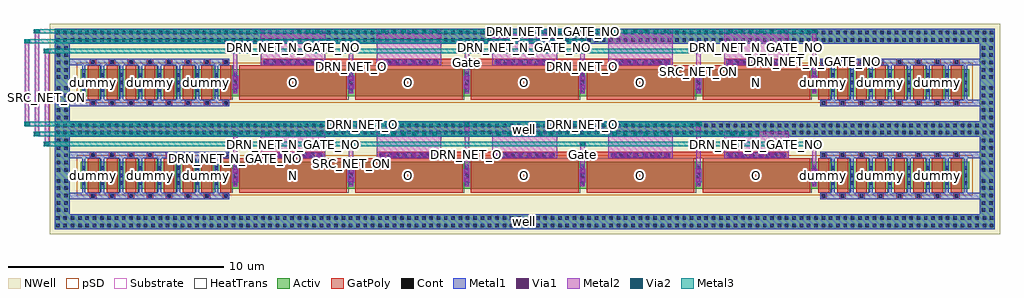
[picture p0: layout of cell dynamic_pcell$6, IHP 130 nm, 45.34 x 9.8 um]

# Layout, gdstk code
import gdstk
lib = gdstk.Library(unit=1e-6, precision=1e-09)
def R(c, l, rs):  # rectangles x0, y0, x1, y1
    for r in rs: c.add(gdstk.rectangle(r[:2], r[2:], *l))
def A(c, l, x, y, w, h, nx, ny, dx, dy):  # array of equal rectangles
    R(c, l, [(x+i*dx, y+j*dy, x+i*dx+w, y+j*dy+h) for i in range(nx) for j in range(ny)])
def P(c, l, *ps):  # polygons
    for p in ps: c.add(gdstk.Polygon(p, *l))
Activ = (1, 0)
GatPoly = (5, 0)
Cont = (6, 0)
Metal1 = (8, 0)
Metal2 = (10, 0)
pSD = (14, 0)
Via1 = (19, 0)
Via2 = (29, 0)
Metal3 = (30, 0)
NWell = (31, 0)
Substrate = (40, 0)
HeatTrans = (51, 0)

dynamic_pcell_6 = lib.new_cell('dynamic_pcell$6')
A(dynamic_pcell_6, Activ, 0, 0, 0.3, 0.3, 9, 2, 0.88, 4.31)
A(dynamic_pcell_6, Activ, 12.42, 0, 0.3, 0.3, 5, 1, 5.38, 0)
A(dynamic_pcell_6, Activ, 33.94, 0, 0.3, 0.3, 9, 2, 0.88, 4.31)
A(dynamic_pcell_6, Activ, 7.04, 4.31, 0.3, 0.3, 5, 1, 5.38, 0)
R(dynamic_pcell_6, Activ, [(-1.2,-1.88,42.48,-1.18), (-1.2,-1.18,-0.5,2.43), (41.78,-1.18,42.48,2.43), (0,0,7.34,1.25), (7.04,0,7.34,0.3), (7.04,0,12.72,1.25), (12.42,0,12.72,0.3), (12.42,0,34.24,1.25), (33.94,0,41.28,1.25), (-1.2,2.43,42.48,3.13), (-1.2,3.13,-0.5,6.74), (41.78,3.13,42.48,6.74), (0,4.31,7.34,5.56), (7.04,4.31,28.86,5.56), (28.56,4.31,28.86,4.61), (28.56,4.31,34.24,5.56), (33.94,4.31,34.24,4.61), (33.94,4.31,41.28,5.56)])
P(dynamic_pcell_6, Activ, [(-1.2,-1.88),(-1.2,2.43),(-0.5,2.43),(-0.5,-1.18),(41.78,-1.18),(41.78,2.43),(-1.2,2.43),(-1.2,3.13),(42.48,3.13),(42.48,-1.88)],
  [(-1.2,2.43),(-1.2,6.74),(-0.5,6.74),(-0.5,3.13),(41.78,3.13),(41.78,6.74),(-1.2,6.74),(-1.2,7.44),(42.48,7.44),(42.48,2.43)])
A(dynamic_pcell_6, GatPoly, 0.44, -0.48, 0.3, 0.3, 8, 2, 0.88, 1.91)
A(dynamic_pcell_6, GatPoly, 34.38, -0.48, 0.3, 0.3, 8, 2, 0.88, 1.91)
A(dynamic_pcell_6, GatPoly, 0.34, -0.18, 0.5, 1.61, 8, 2, 0.88, 4.31)
A(dynamic_pcell_6, GatPoly, 7.38, -0.18, 5, 1.61, 5, 2, 5.38, 4.31)
A(dynamic_pcell_6, GatPoly, 34.28, -0.18, 0.5, 1.61, 8, 2, 0.88, 4.31)
A(dynamic_pcell_6, GatPoly, 8.38, 1.43, 3, 0.3, 5, 2, 5.38, 4.31)
A(dynamic_pcell_6, GatPoly, 0.44, 3.83, 0.3, 0.3, 8, 2, 0.88, 1.91)
A(dynamic_pcell_6, GatPoly, 34.38, 3.83, 0.3, 0.3, 8, 2, 0.88, 1.91)
R(dynamic_pcell_6, GatPoly, [(13.76,1.43,32.9,1.73), (8.38,5.74,27.52,6.04)])
A(dynamic_pcell_6, Cont, -1.13, -1.78, 0.16, 0.16, 64, 2, 0.34, 0.34)
A(dynamic_pcell_6, Cont, 20.83, -1.78, 0.16, 0.16, 64, 2, 0.34, 0.34)
A(dynamic_pcell_6, Cont, -1.1, -1.07, 0.16, 0.16, 1, 5, 0, 0.34)
A(dynamic_pcell_6, Cont, -0.76, -1.07, 0.16, 0.16, 1, 5, 0, 0.34)
A(dynamic_pcell_6, Cont, 41.88, -1.07, 0.16, 0.16, 1, 5, 0, 0.34)
A(dynamic_pcell_6, Cont, 42.22, -1.07, 0.16, 0.16, 1, 5, 0, 0.34)
A(dynamic_pcell_6, Cont, 0.51, -0.41, 0.16, 0.16, 8, 2, 0.88, 1.91)
A(dynamic_pcell_6, Cont, 34.45, -0.41, 0.16, 0.16, 8, 2, 0.88, 1.91)
A(dynamic_pcell_6, Cont, 0.07, 0.195, 0.16, 0.16, 9, 3, 0.88, 0.35)
A(dynamic_pcell_6, Cont, 7.11, 0.195, 0.16, 0.16, 1, 3, 0, 0.35)
A(dynamic_pcell_6, Cont, 12.49, 0.195, 0.16, 0.16, 1, 3, 0, 0.35)
A(dynamic_pcell_6, Cont, 12.49, 0.195, 0.16, 0.16, 5, 3, 5.38, 0.35)
A(dynamic_pcell_6, Cont, 34.01, 0.195, 0.16, 0.16, 9, 3, 0.88, 0.35)
A(dynamic_pcell_6, Cont, -1.1, 0.8, 0.16, 0.16, 1, 5, 0, 0.34)
A(dynamic_pcell_6, Cont, -0.76, 0.8, 0.16, 0.16, 1, 5, 0, 0.34)
A(dynamic_pcell_6, Cont, 41.88, 0.8, 0.16, 0.16, 1, 5, 0, 0.34)
A(dynamic_pcell_6, Cont, 42.22, 0.8, 0.16, 0.16, 1, 5, 0, 0.34)
A(dynamic_pcell_6, Cont, 8.54, 1.5, 0.16, 0.16, 8, 2, 0.36, 4.31)
A(dynamic_pcell_6, Cont, 13.92, 1.5, 0.16, 0.16, 8, 2, 0.36, 4.31)
A(dynamic_pcell_6, Cont, 19.3, 1.5, 0.16, 0.16, 8, 2, 0.36, 4.31)
A(dynamic_pcell_6, Cont, 24.68, 1.5, 0.16, 0.16, 8, 2, 0.36, 4.31)
A(dynamic_pcell_6, Cont, 30.06, 1.5, 0.16, 0.16, 8, 2, 0.36, 4.31)
A(dynamic_pcell_6, Cont, -1.1, 3.24, 0.16, 0.16, 1, 5, 0, 0.34)
A(dynamic_pcell_6, Cont, -0.76, 3.24, 0.16, 0.16, 1, 5, 0, 0.34)
A(dynamic_pcell_6, Cont, 41.88, 3.24, 0.16, 0.16, 1, 5, 0, 0.34)
A(dynamic_pcell_6, Cont, 42.22, 3.24, 0.16, 0.16, 1, 5, 0, 0.34)
A(dynamic_pcell_6, Cont, 0.51, 3.9, 0.16, 0.16, 8, 2, 0.88, 1.91)
A(dynamic_pcell_6, Cont, 34.45, 3.9, 0.16, 0.16, 8, 2, 0.88, 1.91)
A(dynamic_pcell_6, Cont, 0.07, 4.505, 0.16, 0.16, 9, 3, 0.88, 0.35)
A(dynamic_pcell_6, Cont, 7.11, 4.505, 0.16, 0.16, 5, 3, 5.38, 0.35)
A(dynamic_pcell_6, Cont, 28.63, 4.505, 0.16, 0.16, 1, 3, 0, 0.35)
A(dynamic_pcell_6, Cont, 34.01, 4.505, 0.16, 0.16, 1, 3, 0, 0.35)
A(dynamic_pcell_6, Cont, 34.01, 4.505, 0.16, 0.16, 9, 3, 0.88, 0.35)
A(dynamic_pcell_6, Cont, -1.1, 5.11, 0.16, 0.16, 1, 5, 0, 0.34)
A(dynamic_pcell_6, Cont, -0.76, 5.11, 0.16, 0.16, 1, 5, 0, 0.34)
A(dynamic_pcell_6, Cont, 41.88, 5.11, 0.16, 0.16, 1, 5, 0, 0.34)
A(dynamic_pcell_6, Cont, 42.22, 5.11, 0.16, 0.16, 1, 5, 0, 0.34)
A(dynamic_pcell_6, Cont, -1.13, 6.84, 0.16, 0.16, 64, 2, 0.34, 0.34)
A(dynamic_pcell_6, Cont, 20.83, 6.84, 0.16, 0.16, 64, 2, 0.34, 0.34)
R(dynamic_pcell_6, Cont, [(-1.13,2.53,-0.97,2.69), (-1.13,2.53,-0.97,2.69), (-0.79,2.53,-0.63,2.69), (-0.79,2.53,-0.63,2.69), (-0.45,2.53,-0.29,2.69), (-0.45,2.53,-0.29,2.69), (-0.11,2.53,0.05,2.69), (-0.11,2.53,0.05,2.69), (0.23,2.53,0.39,2.69), (0.23,2.53,0.39,2.69), (0.57,2.53,0.73,2.69), (0.57,2.53,0.73,2.69), (0.91,2.53,1.07,2.69), (0.91,2.53,1.07,2.69), (1.25,2.53,1.41,2.69), (1.25,2.53,1.41,2.69), (1.59,2.53,1.75,2.69), (1.59,2.53,1.75,2.69), (1.93,2.53,2.09,2.69), (1.93,2.53,2.09,2.69), (2.27,2.53,2.43,2.69), (2.27,2.53,2.43,2.69), (2.61,2.53,2.77,2.69), (2.61,2.53,2.77,2.69), (2.95,2.53,3.11,2.69), (2.95,2.53,3.11,2.69), (3.29,2.53,3.45,2.69), (3.29,2.53,3.45,2.69), (3.63,2.53,3.79,2.69), (3.63,2.53,3.79,2.69), (3.97,2.53,4.13,2.69), (3.97,2.53,4.13,2.69), (4.31,2.53,4.47,2.69), (4.31,2.53,4.47,2.69), (4.65,2.53,4.81,2.69), (4.65,2.53,4.81,2.69), (4.99,2.53,5.15,2.69), (4.99,2.53,5.15,2.69), (5.33,2.53,5.49,2.69), (5.33,2.53,5.49,2.69), (5.67,2.53,5.83,2.69), (5.67,2.53,5.83,2.69), (6.01,2.53,6.17,2.69), (6.01,2.53,6.17,2.69), (6.35,2.53,6.51,2.69), (6.35,2.53,6.51,2.69), (6.69,2.53,6.85,2.69), (6.69,2.53,6.85,2.69), (7.03,2.53,7.19,2.69), (7.03,2.53,7.19,2.69), (7.37,2.53,7.53,2.69), (7.37,2.53,7.53,2.69), (7.71,2.53,7.87,2.69), (7.71,2.53,7.87,2.69), (8.05,2.53,8.21,2.69), (8.05,2.53,8.21,2.69), (8.39,2.53,8.55,2.69), (8.39,2.53,8.55,2.69), (8.73,2.53,8.89,2.69), (8.73,2.53,8.89,2.69), (9.07,2.53,9.23,2.69), (9.07,2.53,9.23,2.69), (9.41,2.53,9.57,2.69), (9.41,2.53,9.57,2.69), (9.75,2.53,9.91,2.69), (9.75,2.53,9.91,2.69), (10.09,2.53,10.25,2.69), (10.09,2.53,10.25,2.69), (10.43,2.53,10.59,2.69), (10.43,2.53,10.59,2.69), (10.77,2.53,10.93,2.69), (10.77,2.53,10.93,2.69), (11.11,2.53,11.27,2.69), (11.11,2.53,11.27,2.69), (11.45,2.53,11.61,2.69), (11.45,2.53,11.61,2.69), (11.79,2.53,11.95,2.69), (11.79,2.53,11.95,2.69), (12.13,2.53,12.29,2.69), (12.13,2.53,12.29,2.69), (12.47,2.53,12.63,2.69), (12.47,2.53,12.63,2.69), (12.81,2.53,12.97,2.69), (12.81,2.53,12.97,2.69), (13.15,2.53,13.31,2.69), (13.15,2.53,13.31,2.69), (13.49,2.53,13.65,2.69), (13.49,2.53,13.65,2.69), (13.83,2.53,13.99,2.69), (13.83,2.53,13.99,2.69), (14.17,2.53,14.33,2.69), (14.17,2.53,14.33,2.69), (14.51,2.53,14.67,2.69), (14.51,2.53,14.67,2.69), (14.85,2.53,15.01,2.69), (14.85,2.53,15.01,2.69), (15.19,2.53,15.35,2.69), (15.19,2.53,15.35,2.69), (15.53,2.53,15.69,2.69), (15.53,2.53,15.69,2.69), (15.87,2.53,16.03,2.69), (15.87,2.53,16.03,2.69), (16.21,2.53,16.37,2.69), (16.21,2.53,16.37,2.69), (16.55,2.53,16.71,2.69), (16.55,2.53,16.71,2.69), (16.89,2.53,17.05,2.69), (16.89,2.53,17.05,2.69), (17.23,2.53,17.39,2.69), (17.23,2.53,17.39,2.69), (17.57,2.53,17.73,2.69), (17.57,2.53,17.73,2.69), (17.91,2.53,18.07,2.69), (17.91,2.53,18.07,2.69), (18.25,2.53,18.41,2.69), (18.25,2.53,18.41,2.69), (18.59,2.53,18.75,2.69), (18.59,2.53,18.75,2.69), (18.93,2.53,19.09,2.69), (18.93,2.53,19.09,2.69), (19.27,2.53,19.43,2.69), (19.27,2.53,19.43,2.69), (19.61,2.53,19.77,2.69), (19.61,2.53,19.77,2.69), (19.95,2.53,20.11,2.69), (19.95,2.53,20.11,2.69), (20.29,2.53,20.45,2.69), (20.29,2.53,20.45,2.69), (20.83,2.53,20.99,2.69), (20.83,2.53,20.99,2.69), (21.17,2.53,21.33,2.69), (21.17,2.53,21.33,2.69), (21.51,2.53,21.67,2.69), (21.51,2.53,21.67,2.69), (21.85,2.53,22.01,2.69), (21.85,2.53,22.01,2.69), (22.19,2.53,22.35,2.69), (22.19,2.53,22.35,2.69), (22.53,2.53,22.69,2.69), (22.53,2.53,22.69,2.69), (22.87,2.53,23.03,2.69), (22.87,2.53,23.03,2.69), (23.21,2.53,23.37,2.69), (23.21,2.53,23.37,2.69), (23.55,2.53,23.71,2.69), (23.55,2.53,23.71,2.69), (23.89,2.53,24.05,2.69), (23.89,2.53,24.05,2.69), (24.23,2.53,24.39,2.69), (24.23,2.53,24.39,2.69), (24.57,2.53,24.73,2.69), (24.57,2.53,24.73,2.69), (24.91,2.53,25.07,2.69), (24.91,2.53,25.07,2.69), (25.25,2.53,25.41,2.69), (25.25,2.53,25.41,2.69), (25.59,2.53,25.75,2.69), (25.59,2.53,25.75,2.69), (25.93,2.53,26.09,2.69), (25.93,2.53,26.09,2.69), (26.27,2.53,26.43,2.69), (26.27,2.53,26.43,2.69), (26.61,2.53,26.77,2.69), (26.61,2.53,26.77,2.69), (26.95,2.53,27.11,2.69), (26.95,2.53,27.11,2.69), (27.29,2.53,27.45,2.69), (27.29,2.53,27.45,2.69), (27.63,2.53,27.79,2.69), (27.63,2.53,27.79,2.69), (27.97,2.53,28.13,2.69), (27.97,2.53,28.13,2.69), (28.31,2.53,28.47,2.69), (28.31,2.53,28.47,2.69), (28.65,2.53,28.81,2.69), (28.65,2.53,28.81,2.69), (28.99,2.53,29.15,2.69), (28.99,2.53,29.15,2.69), (29.33,2.53,29.49,2.69), (29.33,2.53,29.49,2.69), (29.67,2.53,29.83,2.69), (29.67,2.53,29.83,2.69), (30.01,2.53,30.17,2.69), (30.01,2.53,30.17,2.69), (30.35,2.53,30.51,2.69), (30.35,2.53,30.51,2.69), (30.69,2.53,30.85,2.69), (30.69,2.53,30.85,2.69), (31.03,2.53,31.19,2.69), (31.03,2.53,31.19,2.69), (31.37,2.53,31.53,2.69), (31.37,2.53,31.53,2.69), (31.71,2.53,31.87,2.69), (31.71,2.53,31.87,2.69), (32.05,2.53,32.21,2.69), (32.05,2.53,32.21,2.69), (32.39,2.53,32.55,2.69), (32.39,2.53,32.55,2.69), (32.73,2.53,32.89,2.69), (32.73,2.53,32.89,2.69), (33.07,2.53,33.23,2.69), (33.07,2.53,33.23,2.69), (33.41,2.53,33.57,2.69), (33.41,2.53,33.57,2.69), (33.75,2.53,33.91,2.69), (33.75,2.53,33.91,2.69), (34.09,2.53,34.25,2.69), (34.09,2.53,34.25,2.69), (34.43,2.53,34.59,2.69), (34.43,2.53,34.59,2.69), (34.77,2.53,34.93,2.69), (34.77,2.53,34.93,2.69), (35.11,2.53,35.27,2.69), (35.11,2.53,35.27,2.69), (35.45,2.53,35.61,2.69), (35.45,2.53,35.61,2.69), (35.79,2.53,35.95,2.69), (35.79,2.53,35.95,2.69), (36.13,2.53,36.29,2.69), (36.13,2.53,36.29,2.69), (36.47,2.53,36.63,2.69), (36.47,2.53,36.63,2.69), (36.81,2.53,36.97,2.69), (36.81,2.53,36.97,2.69), (37.15,2.53,37.31,2.69), (37.15,2.53,37.31,2.69), (37.49,2.53,37.65,2.69), (37.49,2.53,37.65,2.69), (37.83,2.53,37.99,2.69), (37.83,2.53,37.99,2.69), (38.17,2.53,38.33,2.69), (38.17,2.53,38.33,2.69), (38.51,2.53,38.67,2.69), (38.51,2.53,38.67,2.69), (38.85,2.53,39.01,2.69), (38.85,2.53,39.01,2.69), (39.19,2.53,39.35,2.69), (39.19,2.53,39.35,2.69), (39.53,2.53,39.69,2.69), (39.53,2.53,39.69,2.69), (39.87,2.53,40.03,2.69), (39.87,2.53,40.03,2.69), (40.21,2.53,40.37,2.69), (40.21,2.53,40.37,2.69), (40.55,2.53,40.71,2.69), (40.55,2.53,40.71,2.69), (40.89,2.53,41.05,2.69), (40.89,2.53,41.05,2.69), (41.23,2.53,41.39,2.69), (41.23,2.53,41.39,2.69), (41.57,2.53,41.73,2.69), (41.57,2.53,41.73,2.69), (41.91,2.53,42.07,2.69), (41.91,2.53,42.07,2.69), (42.25,2.53,42.41,2.69), (42.25,2.53,42.41,2.69), (-1.13,2.87,-0.97,3.03), (-1.13,2.87,-0.97,3.03), (-0.79,2.87,-0.63,3.03), (-0.79,2.87,-0.63,3.03), (-0.45,2.87,-0.29,3.03), (-0.45,2.87,-0.29,3.03), (-0.11,2.87,0.05,3.03), (-0.11,2.87,0.05,3.03), (0.23,2.87,0.39,3.03), (0.23,2.87,0.39,3.03), (0.57,2.87,0.73,3.03), (0.57,2.87,0.73,3.03), (0.91,2.87,1.07,3.03), (0.91,2.87,1.07,3.03), (1.25,2.87,1.41,3.03), (1.25,2.87,1.41,3.03), (1.59,2.87,1.75,3.03), (1.59,2.87,1.75,3.03), (1.93,2.87,2.09,3.03), (1.93,2.87,2.09,3.03), (2.27,2.87,2.43,3.03), (2.27,2.87,2.43,3.03), (2.61,2.87,2.77,3.03), (2.61,2.87,2.77,3.03), (2.95,2.87,3.11,3.03), (2.95,2.87,3.11,3.03), (3.29,2.87,3.45,3.03), (3.29,2.87,3.45,3.03), (3.63,2.87,3.79,3.03), (3.63,2.87,3.79,3.03), (3.97,2.87,4.13,3.03), (3.97,2.87,4.13,3.03), (4.31,2.87,4.47,3.03), (4.31,2.87,4.47,3.03), (4.65,2.87,4.81,3.03), (4.65,2.87,4.81,3.03), (4.99,2.87,5.15,3.03), (4.99,2.87,5.15,3.03), (5.33,2.87,5.49,3.03), (5.33,2.87,5.49,3.03), (5.67,2.87,5.83,3.03), (5.67,2.87,5.83,3.03), (6.01,2.87,6.17,3.03), (6.01,2.87,6.17,3.03), (6.35,2.87,6.51,3.03), (6.35,2.87,6.51,3.03), (6.69,2.87,6.85,3.03), (6.69,2.87,6.85,3.03), (7.03,2.87,7.19,3.03), (7.03,2.87,7.19,3.03), (7.37,2.87,7.53,3.03), (7.37,2.87,7.53,3.03), (7.71,2.87,7.87,3.03), (7.71,2.87,7.87,3.03), (8.05,2.87,8.21,3.03), (8.05,2.87,8.21,3.03), (8.39,2.87,8.55,3.03), (8.39,2.87,8.55,3.03), (8.73,2.87,8.89,3.03), (8.73,2.87,8.89,3.03), (9.07,2.87,9.23,3.03), (9.07,2.87,9.23,3.03), (9.41,2.87,9.57,3.03), (9.41,2.87,9.57,3.03), (9.75,2.87,9.91,3.03), (9.75,2.87,9.91,3.03), (10.09,2.87,10.25,3.03), (10.09,2.87,10.25,3.03), (10.43,2.87,10.59,3.03), (10.43,2.87,10.59,3.03), (10.77,2.87,10.93,3.03), (10.77,2.87,10.93,3.03), (11.11,2.87,11.27,3.03), (11.11,2.87,11.27,3.03), (11.45,2.87,11.61,3.03), (11.45,2.87,11.61,3.03), (11.79,2.87,11.95,3.03), (11.79,2.87,11.95,3.03), (12.13,2.87,12.29,3.03), (12.13,2.87,12.29,3.03), (12.47,2.87,12.63,3.03), (12.47,2.87,12.63,3.03), (12.81,2.87,12.97,3.03), (12.81,2.87,12.97,3.03), (13.15,2.87,13.31,3.03), (13.15,2.87,13.31,3.03), (13.49,2.87,13.65,3.03), (13.49,2.87,13.65,3.03), (13.83,2.87,13.99,3.03), (13.83,2.87,13.99,3.03), (14.17,2.87,14.33,3.03), (14.17,2.87,14.33,3.03), (14.51,2.87,14.67,3.03), (14.51,2.87,14.67,3.03), (14.85,2.87,15.01,3.03), (14.85,2.87,15.01,3.03), (15.19,2.87,15.35,3.03), (15.19,2.87,15.35,3.03), (15.53,2.87,15.69,3.03), (15.53,2.87,15.69,3.03), (15.87,2.87,16.03,3.03), (15.87,2.87,16.03,3.03), (16.21,2.87,16.37,3.03), (16.21,2.87,16.37,3.03), (16.55,2.87,16.71,3.03), (16.55,2.87,16.71,3.03), (16.89,2.87,17.05,3.03), (16.89,2.87,17.05,3.03), (17.23,2.87,17.39,3.03), (17.23,2.87,17.39,3.03), (17.57,2.87,17.73,3.03), (17.57,2.87,17.73,3.03), (17.91,2.87,18.07,3.03), (17.91,2.87,18.07,3.03), (18.25,2.87,18.41,3.03), (18.25,2.87,18.41,3.03), (18.59,2.87,18.75,3.03), (18.59,2.87,18.75,3.03), (18.93,2.87,19.09,3.03), (18.93,2.87,19.09,3.03), (19.27,2.87,19.43,3.03), (19.27,2.87,19.43,3.03), (19.61,2.87,19.77,3.03), (19.61,2.87,19.77,3.03), (19.95,2.87,20.11,3.03), (19.95,2.87,20.11,3.03), (20.29,2.87,20.45,3.03), (20.29,2.87,20.45,3.03), (20.83,2.87,20.99,3.03), (20.83,2.87,20.99,3.03), (21.17,2.87,21.33,3.03), (21.17,2.87,21.33,3.03), (21.51,2.87,21.67,3.03), (21.51,2.87,21.67,3.03), (21.85,2.87,22.01,3.03), (21.85,2.87,22.01,3.03), (22.19,2.87,22.35,3.03), (22.19,2.87,22.35,3.03), (22.53,2.87,22.69,3.03), (22.53,2.87,22.69,3.03), (22.87,2.87,23.03,3.03), (22.87,2.87,23.03,3.03), (23.21,2.87,23.37,3.03), (23.21,2.87,23.37,3.03), (23.55,2.87,23.71,3.03), (23.55,2.87,23.71,3.03), (23.89,2.87,24.05,3.03), (23.89,2.87,24.05,3.03), (24.23,2.87,24.39,3.03), (24.23,2.87,24.39,3.03), (24.57,2.87,24.73,3.03), (24.57,2.87,24.73,3.03), (24.91,2.87,25.07,3.03), (24.91,2.87,25.07,3.03), (25.25,2.87,25.41,3.03), (25.25,2.87,25.41,3.03), (25.59,2.87,25.75,3.03), (25.59,2.87,25.75,3.03), (25.93,2.87,26.09,3.03), (25.93,2.87,26.09,3.03), (26.27,2.87,26.43,3.03), (26.27,2.87,26.43,3.03), (26.61,2.87,26.77,3.03), (26.61,2.87,26.77,3.03), (26.95,2.87,27.11,3.03), (26.95,2.87,27.11,3.03), (27.29,2.87,27.45,3.03), (27.29,2.87,27.45,3.03), (27.63,2.87,27.79,3.03), (27.63,2.87,27.79,3.03), (27.97,2.87,28.13,3.03), (27.97,2.87,28.13,3.03), (28.31,2.87,28.47,3.03), (28.31,2.87,28.47,3.03), (28.65,2.87,28.81,3.03), (28.65,2.87,28.81,3.03), (28.99,2.87,29.15,3.03), (28.99,2.87,29.15,3.03), (29.33,2.87,29.49,3.03), (29.33,2.87,29.49,3.03), (29.67,2.87,29.83,3.03), (29.67,2.87,29.83,3.03), (30.01,2.87,30.17,3.03), (30.01,2.87,30.17,3.03), (30.35,2.87,30.51,3.03), (30.35,2.87,30.51,3.03), (30.69,2.87,30.85,3.03), (30.69,2.87,30.85,3.03), (31.03,2.87,31.19,3.03), (31.03,2.87,31.19,3.03), (31.37,2.87,31.53,3.03), (31.37,2.87,31.53,3.03), (31.71,2.87,31.87,3.03), (31.71,2.87,31.87,3.03), (32.05,2.87,32.21,3.03), (32.05,2.87,32.21,3.03), (32.39,2.87,32.55,3.03), (32.39,2.87,32.55,3.03), (32.73,2.87,32.89,3.03), (32.73,2.87,32.89,3.03), (33.07,2.87,33.23,3.03), (33.07,2.87,33.23,3.03), (33.41,2.87,33.57,3.03), (33.41,2.87,33.57,3.03), (33.75,2.87,33.91,3.03), (33.75,2.87,33.91,3.03), (34.09,2.87,34.25,3.03), (34.09,2.87,34.25,3.03), (34.43,2.87,34.59,3.03), (34.43,2.87,34.59,3.03), (34.77,2.87,34.93,3.03), (34.77,2.87,34.93,3.03), (35.11,2.87,35.27,3.03), (35.11,2.87,35.27,3.03), (35.45,2.87,35.61,3.03), (35.45,2.87,35.61,3.03), (35.79,2.87,35.95,3.03), (35.79,2.87,35.95,3.03), (36.13,2.87,36.29,3.03), (36.13,2.87,36.29,3.03), (36.47,2.87,36.63,3.03), (36.47,2.87,36.63,3.03), (36.81,2.87,36.97,3.03), (36.81,2.87,36.97,3.03), (37.15,2.87,37.31,3.03), (37.15,2.87,37.31,3.03), (37.49,2.87,37.65,3.03), (37.49,2.87,37.65,3.03), (37.83,2.87,37.99,3.03), (37.83,2.87,37.99,3.03), (38.17,2.87,38.33,3.03), (38.17,2.87,38.33,3.03), (38.51,2.87,38.67,3.03), (38.51,2.87,38.67,3.03), (38.85,2.87,39.01,3.03), (38.85,2.87,39.01,3.03), (39.19,2.87,39.35,3.03), (39.19,2.87,39.35,3.03), (39.53,2.87,39.69,3.03), (39.53,2.87,39.69,3.03), (39.87,2.87,40.03,3.03), (39.87,2.87,40.03,3.03), (40.21,2.87,40.37,3.03), (40.21,2.87,40.37,3.03), (40.55,2.87,40.71,3.03), (40.55,2.87,40.71,3.03), (40.89,2.87,41.05,3.03), (40.89,2.87,41.05,3.03), (41.23,2.87,41.39,3.03), (41.23,2.87,41.39,3.03), (41.57,2.87,41.73,3.03), (41.57,2.87,41.73,3.03), (41.91,2.87,42.07,3.03), (41.91,2.87,42.07,3.03), (42.25,2.87,42.41,3.03), (42.25,2.87,42.41,3.03)])
A(dynamic_pcell_6, Metal1, 0.07, -0.48, 0.16, 2.21, 8, 2, 0.88, 4.31)
A(dynamic_pcell_6, Metal1, 34.89, -0.48, 0.16, 2.21, 8, 2, 0.88, 4.31)
A(dynamic_pcell_6, Metal1, 0.46, -0.41, 0.26, 0.16, 8, 2, 0.88, 1.91)
A(dynamic_pcell_6, Metal1, 34.4, -0.41, 0.26, 0.16, 8, 2, 0.88, 1.91)
A(dynamic_pcell_6, Metal1, 0.07, 0.125, 0.16, 1, 9, 2, 0.88, 4.31)
A(dynamic_pcell_6, Metal1, 12.49, 0.125, 0.16, 1, 5, 1, 5.38, 0)
A(dynamic_pcell_6, Metal1, 34.01, 0.125, 0.16, 1, 9, 2, 0.88, 4.31)
A(dynamic_pcell_6, Metal1, 12.425, 0.315, 0.29, 0.62, 5, 1, 5.38, 0)
A(dynamic_pcell_6, Metal1, 8.535, 1.475, 2.69, 0.21, 5, 2, 5.38, 4.31)
A(dynamic_pcell_6, Metal1, 8.49, 1.5, 2.78, 0.16, 5, 2, 5.38, 4.31)
A(dynamic_pcell_6, Metal1, 0.46, 3.9, 0.26, 0.16, 8, 2, 0.88, 1.91)
A(dynamic_pcell_6, Metal1, 34.4, 3.9, 0.26, 0.16, 8, 2, 0.88, 1.91)
A(dynamic_pcell_6, Metal1, 7.11, 4.435, 0.16, 1, 5, 1, 5.38, 0)
A(dynamic_pcell_6, Metal1, 7.045, 4.625, 0.29, 0.62, 5, 1, 5.38, 0)
R(dynamic_pcell_6, Metal1, [(-1.2,-1.88,42.48,-1.18), (-1.2,-1.18,-0.5,2.43), (41.78,-1.18,42.48,2.43), (-1.2,-0.48,6.9,-0.18), (34.38,-0.48,42.48,-0.18), (7.11,0.125,7.27,1.125), (12.49,0.125,12.65,1.125), (7.045,0.315,7.335,0.935), (12.425,0.315,12.715,0.935), (-1.2,1.43,6.9,1.73), (34.38,1.43,42.48,1.73), (-1.2,2.43,42.48,3.13), (-1.2,2.43,42.48,3.13), (-1.2,3.13,-0.5,6.74), (41.78,3.13,42.48,6.74), (-1.2,3.83,6.9,4.13), (34.38,3.83,42.48,4.13), (28.63,4.435,28.79,5.435), (34.01,4.435,34.17,5.435), (28.565,4.625,28.855,5.245), (33.945,4.625,34.235,5.245), (-1.2,5.74,6.9,6.04), (34.38,5.74,42.48,6.04), (-1.2,6.74,42.48,7.44)])
A(dynamic_pcell_6, Metal2, 12.47, 0.125, 0.2, 2.065, 3, 1, 10.76, 0)
A(dynamic_pcell_6, Metal2, 12.425, 0.32, 0.29, 0.61, 5, 1, 5.38, 0)
A(dynamic_pcell_6, Metal2, 8.38, 1.43, 3, 1.22, 5, 1, 5.38, 0)
A(dynamic_pcell_6, Metal2, 8.535, 1.48, 2.69, 0.2, 5, 2, 5.38, 4.31)
A(dynamic_pcell_6, Metal2, 12.425, 1.99, 0.29, 0.2, 3, 1, 10.76, 0)
A(dynamic_pcell_6, Metal2, 8.535, 2.45, 2.69, 0.2, 4, 1, 5.38, 0)
A(dynamic_pcell_6, Metal2, 7.09, 4.435, 0.2, 2.065, 3, 1, 10.76, 0)
A(dynamic_pcell_6, Metal2, 7.045, 4.63, 0.29, 0.61, 5, 1, 5.38, 0)
A(dynamic_pcell_6, Metal2, 8.38, 5.74, 3, 1.68, 5, 1, 5.38, 0)
A(dynamic_pcell_6, Metal2, 7.045, 6.3, 0.29, 0.2, 3, 1, 10.76, 0)
A(dynamic_pcell_6, Metal2, 13.915, 7.22, 2.69, 0.2, 4, 1, 5.38, 0)
R(dynamic_pcell_6, Metal2, [(7.09,0.125,7.29,2.65), (12.47,0.125,12.67,2.19), (17.85,0.125,18.05,3.11), (28.61,0.125,28.81,3.11), (7.045,0.32,7.335,0.93), (12.425,0.32,12.715,0.93), (-1.705,1.99,-1.415,2.19), (-1.66,1.99,-1.46,6.5), (12.425,1.99,12.715,2.19), (-2.165,2.45,-1.875,2.65), (-2.12,2.45,-1.92,7.42), (7.045,2.45,7.335,2.65), (30.145,2.45,31.255,2.65), (-2.625,2.91,-2.335,3.11), (-2.58,2.91,-2.38,6.96), (17.805,2.91,18.095,3.11), (28.565,2.91,28.855,3.11), (12.47,4.435,12.67,6.96), (23.23,4.435,23.43,6.96), (28.61,4.435,28.81,6.5), (33.99,4.435,34.19,7.42), (28.565,4.63,28.855,5.24), (33.945,4.63,34.235,5.24), (-1.705,6.3,-1.415,6.5), (28.565,6.3,28.855,6.5), (-2.625,6.76,-2.335,6.96), (12.425,6.76,12.715,6.96), (23.185,6.76,23.475,6.96), (-2.165,7.22,-1.875,7.42), (10.025,7.22,11.135,7.42), (33.945,7.22,34.235,7.42)])
R(dynamic_pcell_6, pSD, [(-0.18,-0.3,7.52,1.55), (6.86,-0.3,12.9,1.55), (12.24,-0.3,34.42,1.55), (33.76,-0.3,41.46,1.55), (-0.18,4.01,7.52,5.86), (6.86,4.01,29.04,5.86), (28.38,4.01,34.42,5.86), (33.76,4.01,41.46,5.86)])
A(dynamic_pcell_6, Via1, 12.475, 0.325, 0.19, 0.19, 5, 2, 5.38, 0.41)
A(dynamic_pcell_6, Via1, 8.585, 1.485, 0.19, 0.19, 6, 2, 0.48, 4.31)
A(dynamic_pcell_6, Via1, 13.965, 1.485, 0.19, 0.19, 6, 2, 0.48, 4.31)
A(dynamic_pcell_6, Via1, 19.345, 1.485, 0.19, 0.19, 6, 2, 0.48, 4.31)
A(dynamic_pcell_6, Via1, 24.725, 1.485, 0.19, 0.19, 6, 2, 0.48, 4.31)
A(dynamic_pcell_6, Via1, 30.105, 1.485, 0.19, 0.19, 6, 2, 0.48, 4.31)
A(dynamic_pcell_6, Via1, 7.095, 4.635, 0.19, 0.19, 5, 2, 5.38, 0.41)
R(dynamic_pcell_6, Via1, [(7.095,0.325,7.285,0.515), (12.475,0.325,12.665,0.515), (7.095,0.735,7.285,0.925), (12.475,0.735,12.665,0.925), (28.615,4.635,28.805,4.825), (33.995,4.635,34.185,4.825), (28.615,5.045,28.805,5.235), (33.995,5.045,34.185,5.235)])
A(dynamic_pcell_6, Via2, 12.475, 1.995, 0.19, 0.19, 3, 1, 10.76, 0)
A(dynamic_pcell_6, Via2, 8.585, 2.455, 0.19, 0.19, 6, 1, 0.48, 0)
A(dynamic_pcell_6, Via2, 13.965, 2.455, 0.19, 0.19, 6, 2, 0.48, 4.77)
A(dynamic_pcell_6, Via2, 19.345, 2.455, 0.19, 0.19, 6, 2, 0.48, 4.77)
A(dynamic_pcell_6, Via2, 24.725, 2.455, 0.19, 0.19, 6, 2, 0.48, 4.77)
A(dynamic_pcell_6, Via2, 30.195, 2.455, 0.19, 0.19, 3, 1, 0.41, 0)
A(dynamic_pcell_6, Via2, 7.095, 6.305, 0.19, 0.19, 3, 1, 10.76, 0)
A(dynamic_pcell_6, Via2, 10.075, 7.225, 0.19, 0.19, 3, 1, 0.41, 0)
A(dynamic_pcell_6, Via2, 30.105, 7.225, 0.19, 0.19, 6, 1, 0.48, 0)
R(dynamic_pcell_6, Via2, [(-1.655,1.995,-1.465,2.185), (12.475,1.995,12.665,2.185), (-2.115,2.455,-1.925,2.645), (7.095,2.455,7.285,2.645), (-2.575,2.915,-2.385,3.105), (17.855,2.915,18.045,3.105), (28.615,2.915,28.805,3.105), (-1.655,6.305,-1.465,6.495), (28.615,6.305,28.805,6.495), (-2.575,6.765,-2.385,6.955), (12.475,6.765,12.665,6.955), (23.235,6.765,23.425,6.955), (-2.115,7.225,-1.925,7.415), (33.995,7.225,34.185,7.415)])
A(dynamic_pcell_6, Metal3, 12.425, 1.99, 0.29, 0.2, 3, 1, 10.76, 0)
A(dynamic_pcell_6, Metal3, 8.535, 2.45, 2.69, 0.2, 4, 1, 5.38, 0)
A(dynamic_pcell_6, Metal3, 7.045, 6.3, 0.29, 0.2, 3, 1, 10.76, 0)
A(dynamic_pcell_6, Metal3, 13.915, 7.22, 2.69, 0.2, 4, 1, 5.38, 0)
R(dynamic_pcell_6, Metal3, [(-1.705,1.99,-1.415,2.19), (-1.66,1.99,34.19,2.19), (12.425,1.99,12.715,2.19), (12.47,1.99,34.19,2.19), (-2.165,2.45,-1.875,2.65), (-2.12,2.45,31.5,2.65), (7.045,2.45,7.335,2.65), (7.09,2.45,31.5,2.65), (30.145,2.45,31.255,2.65), (-2.625,2.91,-2.335,3.11), (-2.58,2.91,28.81,3.11), (17.805,2.91,18.095,3.11), (17.85,2.91,28.81,3.11), (28.565,2.91,28.855,3.11), (-1.705,6.3,-1.415,6.5), (-1.66,6.3,28.81,6.5), (7.09,6.3,28.81,6.5), (28.565,6.3,28.855,6.5), (-2.625,6.76,-2.335,6.96), (-2.58,6.76,23.43,6.96), (12.425,6.76,12.715,6.96), (12.47,6.76,23.43,6.96), (23.185,6.76,23.475,6.96), (-2.165,7.22,-1.875,7.42), (-2.12,7.22,34.19,7.42), (9.78,7.22,34.19,7.42), (10.025,7.22,11.135,7.42), (33.945,7.22,34.235,7.42)])
R(dynamic_pcell_6, NWell, [(-1.44,-2.12,42.72,3.37), (-0.31,-0.31,7.65,1.56), (6.73,-0.31,13.03,1.56), (12.11,-0.31,34.55,1.56), (33.63,-0.31,41.59,1.56), (-1.44,2.19,42.72,7.68), (-0.31,4,7.65,5.87), (6.73,4,29.17,5.87), (28.25,4,34.55,5.87), (33.63,4,41.59,5.87)])
R(dynamic_pcell_6, Substrate, [(7.04,0,7.34,0.3), (12.42,0,12.72,0.3), (33.94,0,34.24,0.3), (40.98,0,41.28,0.3), (7.04,4.31,7.34,4.61), (28.56,4.31,28.86,4.61), (33.94,4.31,34.24,4.61), (40.98,4.31,41.28,4.61)])
A(dynamic_pcell_6, HeatTrans, 0.34, -0.18, 0.58, 1.61, 8, 2, 0.88, 4.31)
A(dynamic_pcell_6, HeatTrans, 7.38, -0.18, 5.08, 1.61, 5, 2, 5.38, 4.31)
A(dynamic_pcell_6, HeatTrans, 34.28, -0.18, 0.58, 1.61, 8, 2, 0.88, 4.31)
dynamic_pcell_6.add(gdstk.Label('Gate', (23.33,1.58), layer=5, texttype=0))
dynamic_pcell_6.add(gdstk.Label('Gate', (17.95,5.89), layer=5, texttype=0))
dynamic_pcell_6.add(gdstk.Label('dummy', (0.59,0.625), layer=63, texttype=0))
dynamic_pcell_6.add(gdstk.Label('dummy', (1.47,0.625), layer=63, texttype=0))
dynamic_pcell_6.add(gdstk.Label('dummy', (2.35,0.625), layer=63, texttype=0))
dynamic_pcell_6.add(gdstk.Label('dummy', (3.23,0.625), layer=63, texttype=0))
dynamic_pcell_6.add(gdstk.Label('dummy', (4.11,0.625), layer=63, texttype=0))
dynamic_pcell_6.add(gdstk.Label('dummy', (4.99,0.625), layer=63, texttype=0))
dynamic_pcell_6.add(gdstk.Label('dummy', (5.87,0.625), layer=63, texttype=0))
dynamic_pcell_6.add(gdstk.Label('dummy', (6.75,0.625), layer=63, texttype=0))
dynamic_pcell_6.add(gdstk.Label('N', (9.88,0.625), layer=63, texttype=0))
dynamic_pcell_6.add(gdstk.Label('O', (15.26,0.625), layer=63, texttype=0))
dynamic_pcell_6.add(gdstk.Label('O', (20.64,0.625), layer=63, texttype=0))
dynamic_pcell_6.add(gdstk.Label('O', (26.02,0.625), layer=63, texttype=0))
dynamic_pcell_6.add(gdstk.Label('O', (31.4,0.625), layer=63, texttype=0))
dynamic_pcell_6.add(gdstk.Label('dummy', (34.53,0.625), layer=63, texttype=0))
dynamic_pcell_6.add(gdstk.Label('dummy', (35.41,0.625), layer=63, texttype=0))
dynamic_pcell_6.add(gdstk.Label('dummy', (36.29,0.625), layer=63, texttype=0))
dynamic_pcell_6.add(gdstk.Label('dummy', (37.17,0.625), layer=63, texttype=0))
dynamic_pcell_6.add(gdstk.Label('dummy', (38.05,0.625), layer=63, texttype=0))
dynamic_pcell_6.add(gdstk.Label('dummy', (38.93,0.625), layer=63, texttype=0))
dynamic_pcell_6.add(gdstk.Label('dummy', (39.81,0.625), layer=63, texttype=0))
dynamic_pcell_6.add(gdstk.Label('dummy', (40.69,0.625), layer=63, texttype=0))
dynamic_pcell_6.add(gdstk.Label('well', (20.64,-1.53), layer=63, texttype=0))
dynamic_pcell_6.add(gdstk.Label('dummy', (0.59,4.935), layer=63, texttype=0))
dynamic_pcell_6.add(gdstk.Label('dummy', (1.47,4.935), layer=63, texttype=0))
dynamic_pcell_6.add(gdstk.Label('dummy', (2.35,4.935), layer=63, texttype=0))
dynamic_pcell_6.add(gdstk.Label('dummy', (3.23,4.935), layer=63, texttype=0))
dynamic_pcell_6.add(gdstk.Label('dummy', (4.11,4.935), layer=63, texttype=0))
dynamic_pcell_6.add(gdstk.Label('dummy', (4.99,4.935), layer=63, texttype=0))
dynamic_pcell_6.add(gdstk.Label('dummy', (5.87,4.935), layer=63, texttype=0))
dynamic_pcell_6.add(gdstk.Label('dummy', (6.75,4.935), layer=63, texttype=0))
dynamic_pcell_6.add(gdstk.Label('O', (9.88,4.935), layer=63, texttype=0))
dynamic_pcell_6.add(gdstk.Label('O', (15.26,4.935), layer=63, texttype=0))
dynamic_pcell_6.add(gdstk.Label('O', (20.64,4.935), layer=63, texttype=0))
dynamic_pcell_6.add(gdstk.Label('O', (26.02,4.935), layer=63, texttype=0))
dynamic_pcell_6.add(gdstk.Label('N', (31.4,4.935), layer=63, texttype=0))
dynamic_pcell_6.add(gdstk.Label('dummy', (34.53,4.935), layer=63, texttype=0))
dynamic_pcell_6.add(gdstk.Label('dummy', (35.41,4.935), layer=63, texttype=0))
dynamic_pcell_6.add(gdstk.Label('dummy', (36.29,4.935), layer=63, texttype=0))
dynamic_pcell_6.add(gdstk.Label('dummy', (37.17,4.935), layer=63, texttype=0))
dynamic_pcell_6.add(gdstk.Label('dummy', (38.05,4.935), layer=63, texttype=0))
dynamic_pcell_6.add(gdstk.Label('dummy', (38.93,4.935), layer=63, texttype=0))
dynamic_pcell_6.add(gdstk.Label('dummy', (39.81,4.935), layer=63, texttype=0))
dynamic_pcell_6.add(gdstk.Label('dummy', (40.69,4.935), layer=63, texttype=0))
dynamic_pcell_6.add(gdstk.Label('well', (20.64,2.78), layer=63, texttype=0))
dynamic_pcell_6.add(gdstk.Label('VDD', (20.64,0.625), layer=31, texttype=0))
dynamic_pcell_6.add(gdstk.Label('VDD', (20.64,4.935), layer=31, texttype=0))
dynamic_pcell_6.add(gdstk.Label('SRC_NET_ON', (12.57,1.158), layer=10, texttype=0))
dynamic_pcell_6.add(gdstk.Label('SRC_NET_ON', (12.57,1.158), layer=10, texttype=0))
dynamic_pcell_6.add(gdstk.Label('SRC_NET_ON', (23.33,1.158), layer=10, texttype=0))
dynamic_pcell_6.add(gdstk.Label('SRC_NET_ON', (34.09,1.158), layer=10, texttype=0))
dynamic_pcell_6.add(gdstk.Label('DRN_NET_N_GATE_NO', (7.19,1.388), layer=10, texttype=0))
dynamic_pcell_6.add(gdstk.Label('DRN_NET_N_GATE_NO', (9.88,2.04), layer=10, texttype=0))
dynamic_pcell_6.add(gdstk.Label('DRN_NET_N_GATE_NO', (15.26,2.04), layer=10, texttype=0))
dynamic_pcell_6.add(gdstk.Label('DRN_NET_N_GATE_NO', (20.64,2.04), layer=10, texttype=0))
dynamic_pcell_6.add(gdstk.Label('DRN_NET_N_GATE_NO', (26.02,2.04), layer=10, texttype=0))
dynamic_pcell_6.add(gdstk.Label('DRN_NET_N_GATE_NO', (31.4,2.04), layer=10, texttype=0))
dynamic_pcell_6.add(gdstk.Label('DRN_NET_O', (17.95,1.618), layer=10, texttype=0))
dynamic_pcell_6.add(gdstk.Label('DRN_NET_O', (28.71,1.618), layer=10, texttype=0))
dynamic_pcell_6.add(gdstk.Label('SRC_NET_ON', (7.19,5.467), layer=10, texttype=0))
dynamic_pcell_6.add(gdstk.Label('SRC_NET_ON', (17.95,5.467), layer=10, texttype=0))
dynamic_pcell_6.add(gdstk.Label('SRC_NET_ON', (28.71,5.467), layer=10, texttype=0))
dynamic_pcell_6.add(gdstk.Label('SRC_NET_ON', (28.71,5.467), layer=10, texttype=0))
dynamic_pcell_6.add(gdstk.Label('DRN_NET_O', (12.57,5.698), layer=10, texttype=0))
dynamic_pcell_6.add(gdstk.Label('DRN_NET_O', (23.33,5.698), layer=10, texttype=0))
dynamic_pcell_6.add(gdstk.Label('DRN_NET_N_GATE_NO', (9.88,6.58), layer=10, texttype=0))
dynamic_pcell_6.add(gdstk.Label('DRN_NET_N_GATE_NO', (15.26,6.58), layer=10, texttype=0))
dynamic_pcell_6.add(gdstk.Label('DRN_NET_N_GATE_NO', (20.64,6.58), layer=10, texttype=0))
dynamic_pcell_6.add(gdstk.Label('DRN_NET_N_GATE_NO', (26.02,6.58), layer=10, texttype=0))
dynamic_pcell_6.add(gdstk.Label('DRN_NET_N_GATE_NO', (34.09,5.927), layer=10, texttype=0))
dynamic_pcell_6.add(gdstk.Label('DRN_NET_N_GATE_NO', (31.4,6.58), layer=10, texttype=0))
dynamic_pcell_6.add(gdstk.Label('SRC_NET_ON', (-1.56,4.245), layer=10, texttype=0))
dynamic_pcell_6.add(gdstk.Label('DRN_NET_N_GATE_NO', (-2.02,4.935), layer=10, texttype=0))
dynamic_pcell_6.add(gdstk.Label('DRN_NET_O', (-2.48,4.935), layer=10, texttype=0))
dynamic_pcell_6.add(gdstk.Label('SRC_NET_ON', (23.33,2.09), layer=30, texttype=0))
dynamic_pcell_6.add(gdstk.Label('DRN_NET_N_GATE_NO', (19.295,2.55), layer=30, texttype=0))
dynamic_pcell_6.add(gdstk.Label('DRN_NET_O', (23.33,3.01), layer=30, texttype=0))
dynamic_pcell_6.add(gdstk.Label('SRC_NET_ON', (17.95,6.4), layer=30, texttype=0))
dynamic_pcell_6.add(gdstk.Label('DRN_NET_O', (17.95,6.86), layer=30, texttype=0))
dynamic_pcell_6.add(gdstk.Label('DRN_NET_N_GATE_NO', (21.985,7.32), layer=30, texttype=0))
dynamic_pcell_6.add(gdstk.Label('SRC_NET_ON', (16.265,2.09), layer=30, texttype=0))
dynamic_pcell_6.add(gdstk.Label('SRC_NET_ON', (13.575,6.4), layer=30, texttype=0))
dynamic_pcell_6.add(gdstk.Label('DRN_NET_N_GATE_NO', (14.69,2.55), layer=30, texttype=0))
dynamic_pcell_6.add(gdstk.Label('DRN_NET_N_GATE_NO', (16.035,7.32), layer=30, texttype=0))
dynamic_pcell_6.add(gdstk.Label('DRN_NET_O', (13.115,3.01), layer=30, texttype=0))
dynamic_pcell_6.add(gdstk.Label('DRN_NET_O', (10.425,6.86), layer=30, texttype=0))
dynamic_pcell_6.add(gdstk.Label('pmos', (0.63,0.625), layer=51, texttype=0))
dynamic_pcell_6.add(gdstk.Label('pmos', (1.51,0.625), layer=51, texttype=0))
dynamic_pcell_6.add(gdstk.Label('pmos', (2.39,0.625), layer=51, texttype=0))
dynamic_pcell_6.add(gdstk.Label('pmos', (3.27,0.625), layer=51, texttype=0))
dynamic_pcell_6.add(gdstk.Label('pmos', (4.15,0.625), layer=51, texttype=0))
dynamic_pcell_6.add(gdstk.Label('pmos', (5.03,0.625), layer=51, texttype=0))
dynamic_pcell_6.add(gdstk.Label('pmos', (5.91,0.625), layer=51, texttype=0))
dynamic_pcell_6.add(gdstk.Label('pmos', (6.79,0.625), layer=51, texttype=0))
dynamic_pcell_6.add(gdstk.Label('pmos', (9.92,0.625), layer=51, texttype=0))
dynamic_pcell_6.add(gdstk.Label('pmos', (15.3,0.625), layer=51, texttype=0))
dynamic_pcell_6.add(gdstk.Label('pmos', (20.68,0.625), layer=51, texttype=0))
dynamic_pcell_6.add(gdstk.Label('pmos', (26.06,0.625), layer=51, texttype=0))
dynamic_pcell_6.add(gdstk.Label('pmos', (31.44,0.625), layer=51, texttype=0))
dynamic_pcell_6.add(gdstk.Label('pmos', (34.57,0.625), layer=51, texttype=0))
dynamic_pcell_6.add(gdstk.Label('pmos', (35.45,0.625), layer=51, texttype=0))
dynamic_pcell_6.add(gdstk.Label('pmos', (36.33,0.625), layer=51, texttype=0))
dynamic_pcell_6.add(gdstk.Label('pmos', (37.21,0.625), layer=51, texttype=0))
dynamic_pcell_6.add(gdstk.Label('pmos', (38.09,0.625), layer=51, texttype=0))
dynamic_pcell_6.add(gdstk.Label('pmos', (38.97,0.625), layer=51, texttype=0))
dynamic_pcell_6.add(gdstk.Label('pmos', (39.85,0.625), layer=51, texttype=0))
dynamic_pcell_6.add(gdstk.Label('pmos', (40.73,0.625), layer=51, texttype=0))
dynamic_pcell_6.add(gdstk.Label('pmos', (0.63,4.935), layer=51, texttype=0))
dynamic_pcell_6.add(gdstk.Label('pmos', (1.51,4.935), layer=51, texttype=0))
dynamic_pcell_6.add(gdstk.Label('pmos', (2.39,4.935), layer=51, texttype=0))
dynamic_pcell_6.add(gdstk.Label('pmos', (3.27,4.935), layer=51, texttype=0))
dynamic_pcell_6.add(gdstk.Label('pmos', (4.15,4.935), layer=51, texttype=0))
dynamic_pcell_6.add(gdstk.Label('pmos', (5.03,4.935), layer=51, texttype=0))
dynamic_pcell_6.add(gdstk.Label('pmos', (5.91,4.935), layer=51, texttype=0))
dynamic_pcell_6.add(gdstk.Label('pmos', (6.79,4.935), layer=51, texttype=0))
dynamic_pcell_6.add(gdstk.Label('pmos', (9.92,4.935), layer=51, texttype=0))
dynamic_pcell_6.add(gdstk.Label('pmos', (15.3,4.935), layer=51, texttype=0))
dynamic_pcell_6.add(gdstk.Label('pmos', (20.68,4.935), layer=51, texttype=0))
dynamic_pcell_6.add(gdstk.Label('pmos', (26.06,4.935), layer=51, texttype=0))
dynamic_pcell_6.add(gdstk.Label('pmos', (31.44,4.935), layer=51, texttype=0))
dynamic_pcell_6.add(gdstk.Label('pmos', (34.57,4.935), layer=51, texttype=0))
dynamic_pcell_6.add(gdstk.Label('pmos', (35.45,4.935), layer=51, texttype=0))
dynamic_pcell_6.add(gdstk.Label('pmos', (36.33,4.935), layer=51, texttype=0))
dynamic_pcell_6.add(gdstk.Label('pmos', (37.21,4.935), layer=51, texttype=0))
dynamic_pcell_6.add(gdstk.Label('pmos', (38.09,4.935), layer=51, texttype=0))
dynamic_pcell_6.add(gdstk.Label('pmos', (38.97,4.935), layer=51, texttype=0))
dynamic_pcell_6.add(gdstk.Label('pmos', (39.85,4.935), layer=51, texttype=0))
dynamic_pcell_6.add(gdstk.Label('pmos', (40.73,4.935), layer=51, texttype=0))

lib.write_gds('dynamic_pcell_6.gds')
